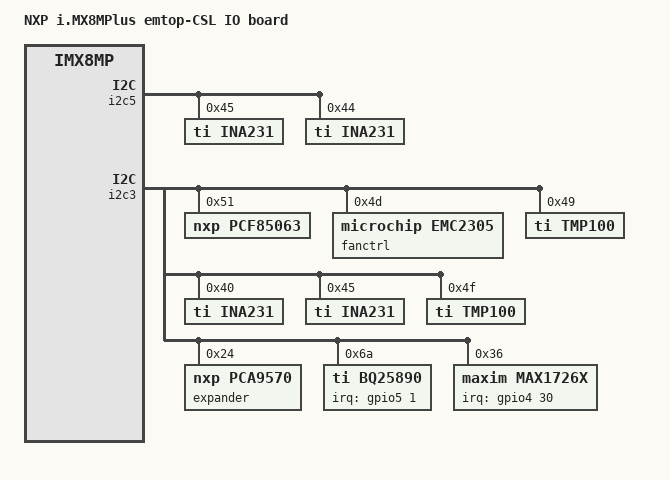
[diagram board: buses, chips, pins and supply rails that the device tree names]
#include "emtop-imx8mp-baseboard-hdmi.dts"

&pinctrl_hog {
	fsl,pins = <
		MX8MP_IOMUXC_ECSPI2_SCLK__GPIO5_IO10		0x19
		MX8MP_IOMUXC_ECSPI2_MOSI__GPIO5_IO11		0x19
		MX8MP_IOMUXC_ECSPI2_MISO__GPIO5_IO12		0x19
		MX8MP_IOMUXC_ECSPI2_SS0__GPIO5_IO13		0x19
	>;
};

/ {
	model = "NXP i.MX8MPlus emtop-CSL IO board";
	compatible = "fsl,imx8mp-evk", "fsl,imx8mp";

	aliases {
		rtc0 = &snvs_rtc;
		rtc1 = &pcf85063;
	};

	gpio-leds {
		act_led: sys {
			label = "led0";
			linux,default-trigger = "mmc0";
			gpios = <&gpio3 16 GPIO_ACTIVE_HIGH>;
		};

                /* pwr_led pin (95) is "reserved" in Emtop SOM-IMX8 */

		sta_led: sta {
			label = "led1";
			linux,default-trigger = "gpio";
			gpios = <&gpio1 6 GPIO_ACTIVE_HIGH>;
		};

		ap_led: ap {
			label = "led2";
			linux,default-trigger = "gpio";
			gpios = <&gpio4 31 GPIO_ACTIVE_HIGH>;
		};
	};
};

&gpio1 { /* gpiochip0 */
	gpio-line-names =
		/* 0*/ "unnamed",
		/* 1*/ "unnamed",
		/* 2*/ "unnamed",
		/* 3*/ "unnamed",
		/* 4*/ "unnamed",
		/* 5*/ "unnamed",
		/* 6*/ "unnamed",
		/* 7*/ "mpcie3_gpio",
		/* 8*/ "unnamed",
		/* 9*/ "unnamed",
		/*10*/ "unnamed",
		/*11*/ "unnamed",
		/*12*/ "unnamed",
		/*13*/ "unnamed",
		/*14*/ "unnamed",
		/*15*/ "unnamed",
		/*16*/ "unnamed",
		/*17*/ "unnamed",
		/*18*/ "unnamed",
		/*19*/ "unnamed",
		/*20*/ "unnamed",
		/*21*/ "unnamed",
		/*22*/ "unnamed",
		/*23*/ "unnamed",
		/*24*/ "unnamed",
		/*25*/ "unnamed",
		/*26*/ "unnamed",
		/*27*/ "unnamed",
		/*28*/ "unnamed",
		/*29*/ "unnamed",
		/*30*/ "unnamed",
		/*31*/ "unnamed";
};

&gpio2 { /* gpiochip1 */
	gpio-line-names =
		/* 0*/ "unnamed",
		/* 1*/ "unnamed",
		/* 2*/ "unnamed",
		/* 3*/ "unnamed",
		/* 4*/ "unnamed",
		/* 5*/ "unnamed",
		/* 6*/ "unnamed",
		/* 7*/ "unnamed",
		/* 8*/ "unnamed",
		/* 9*/ "unnamed",
		/*10*/ "unnamed",
		/*11*/ "unnamed",
		/*12*/ "unnamed",
		/*13*/ "unnamed",
		/*14*/ "unnamed",
		/*15*/ "unnamed",
		/*16*/ "unnamed",
		/*17*/ "unnamed",
		/*18*/ "unnamed",
		/*19*/ "unnamed",
		/*20*/ "nrf52_coex2",
		/*21*/ "unnamed",
		/*22*/ "unnamed",
		/*23*/ "unnamed",
		/*24*/ "unnamed",
		/*25*/ "unnamed",
		/*26*/ "unnamed",
		/*27*/ "unnamed",
		/*28*/ "unnamed",
		/*29*/ "unnamed",
		/*30*/ "unnamed",
		/*31*/ "unnamed";
};

&gpio3 { /* gpiochip2 */
	gpio-line-names =
		/* 0*/ "unnamed",
		/* 1*/ "unnamed",
		/* 2*/ "unnamed",
		/* 3*/ "unnamed",
		/* 4*/ "unnamed",
		/* 5*/ "unnamed",
		/* 6*/ "unnamed",
		/* 7*/ "unnamed",
		/* 8*/ "unnamed",
		/* 9*/ "unnamed",
		/*10*/ "unnamed",
		/*11*/ "unnamed",
		/*12*/ "unnamed",
		/*13*/ "unnamed",
		/*14*/ "unnamed",
		/*15*/ "unnamed",
		/*16*/ "unnamed",
		/*17*/ "unnamed",
		/*18*/ "unnamed",
		/*19*/ "unnamed",
		/*20*/ "unnamed",
		/*21*/ "unnamed",
		/*22*/ "unnamed",
		/*23*/ "unnamed",
		/*24*/ "unnamed",
		/*25*/ "unnamed",
		/*26*/ "unnamed",
		/*27*/ "unnamed",
		/*28*/ "unnamed",
		/*29*/ "unnamed",
		/*30*/ "unnamed",
		/*31*/ "unnamed";
};

&gpio4 { /* gpiochip3 */
	gpio-line-names =
		/* 0*/ "unnamed",
		/* 1*/ "unnamed",
		/* 2*/ "unnamed",
		/* 3*/ "unnamed",
		/* 4*/ "unnamed",
		/* 5*/ "mpcie5_coex2",
		/* 6*/ "unnamed",
		/* 7*/ "unnamed",
		/* 8*/ "unnamed",
		/* 9*/ "unnamed",
		/*10*/ "unnamed",
		/*11*/ "unnamed",
		/*12*/ "unnamed",
		/*13*/ "unnamed",
		/*14*/ "unnamed",
		/*15*/ "unnamed",
		/*16*/ "unnamed",
		/*17*/ "unnamed",
		/*18*/ "unnamed",
		/*19*/ "unnamed",
		/*20*/ "unnamed",
		/*21*/ "unnamed",
		/*22*/ "mux_2",
		/*23*/ "unnamed",
		/*24*/ "unnamed",
		/*25*/ "unnamed",
		/*26*/ "unnamed",
		/*27*/ "mpcie3_coex1",
		/*28*/ "nrf52_coex1",
		/*29*/ "mux_3",
		/*30*/ "nrf53_coex1",
		/*31*/ "aux_ioexp_int";
};

&gpio5 { /* gpiochip4 */
	gpio-line-names =
		/* 0*/ "mpcie3_spi_rst",
		/* 1*/ "nrf53_coex2",
		/* 2*/ "mpcie5_coex1",
		/* 3*/ "unnamed",
		/* 4*/ "unnamed",
		/* 5*/ "unnamed",
		/* 6*/ "unnamed",
		/* 7*/ "unnamed",
		/* 8*/ "unnamed",
		/* 9*/ "unnamed",
		/*10*/ "unnamed",
		/*11*/ "unnamed",
		/*12*/ "unnamed",
		/*13*/ "unnamed",
		/*14*/ "unnamed",
		/*15*/ "unnamed",
		/*16*/ "aux_spi_gpio",
		/*17*/ "aux_spi_rst",
		/*18*/ "unnamed",
		/*19*/ "unnamed",
		/*20*/ "unnamed",
		/*21*/ "unnamed",
		/*22*/ "unnamed",
		/*23*/ "unnamed",
		/*24*/ "unnamed",
		/*25*/ "unnamed",
		/*26*/ "unnamed",
		/*27*/ "unnamed",
		/*28*/ "dcube_rpi_io1",
		/*29*/ "mux_1",
		/*30*/ "unnamed",
		/*31*/ "unnamed";
};

/* ### CSL IO Based Comms Devices ### */
&i2c5 {
	/* Sleeve MiniWing 1.0 */
	/* INA_VCC_FEM */
	ina231@45 {
		compatible = "ti,ina231";
		reg = <0x45>;
		shunt-resistor = <33000>;
	};

	/* INA_VCC_3V3 */
	ina231@44 {
		compatible = "ti,ina231";
		reg = <0x44>;
		shunt-resistor = <100000>;
	};
};

&i2c3 {
	pinctrl-names = "default";
	pinctrl-0 = <&pinctrl_i2c3>;
	status = "okay";

	pcf85063: pcf85063@51 {
		compatible = "nxp,pcf85063";
		reg = <0x51>;
	};

	fanctrl: emc2305@4d {
		compatible = "microchip,emc2305";
		reg = <0x4d>;

		#cooling-cells = <0x02>;

		fan@0 {
			min-rpm = /bits/ 16 <50>;
			max-rpm = /bits/ 16 <5500>;
		};
	};

	tmp100@49 {
		compatible = "ti,tmp100";
		reg = <0x49>;
	};

	/* ina231 is also used for ina209 */
	ina231@40 {
		compatible = "ti,ina231";
		reg = <0x40>;
		shunt-resistor = <33000>;
	};

	/* ina231 is also used for ina209 */
	ina231@45 {
		compatible = "ti,ina231";
		reg = <0x45>;
		shunt-resistor = <33000>;
	};

	/* available in Sleeve wing board */
	tmp100@4f {
		compatible = "ti,tmp100";
		reg = <0x4f>;
	};

	/* Sleeve & wing  board */
	expander: gpio@24 {
		compatible = "nxp,pca9570";
		reg = <0x24>;
		gpio-controller;
		#gpio-cells = <2>;
		gpio-line-names = "poweroff",
				"j701",
				"j702",
				"nrf52_rst";
	};

	bq25890@6a {
		compatible = "ti,bq25890";
		reg = <0x6a>;

		interrupt-parent = <&gpio5>;
		interrupts = <1 IRQ_TYPE_EDGE_FALLING>;

		ti,battery-regulation-voltage = <4208000>;
		ti,charge-current = <2048000>;
		ti,termination-current = <256000>;
		ti,precharge-current = <128000>;
		ti,minimum-sys-voltage = <3500000>;
		ti,boost-voltage = <5000000>;
		ti,boost-max-current = <1000000>;

		ti,use-ilim-pin;
		ti,thermal-regulation-threshold = <120>;
	};

	MAX1726x@36 {
		compatible = "maxim,max1726x";
		status = "okay";
		reg = <0x36>;

		interrupt-parent = <&gpio4>;
		interrupts = <30 IRQ_TYPE_EDGE_FALLING>;

		rsense = <5>; /* 5 miliOhm */
		model-option = <1>; /* 1: EZ Model, 2: Custom INI without model table
					3: Custom INI with custom model table */

		talrt-min = <0>; /* DegreeC */
		talrt-max = <50>; /* DegreeC */
		valrt-min = <3000>; /* mV */
		valrt-max = <4500>; /* mV */
		salrt-min = <1>; /* Percent */
		salrt-max = <99>; /* Percent */
		ialrt-min = <(-5000)>; /* mA */
		ialrt-max = <5000>; /* mA */

		/*** INI parameters ***/
		/* Option 1/2/3 */
		designcap = /bits/ 16 <0xC1C>; /* 3100 mAh */
		ichgterm = /bits/ 16 <0x0320>; /* x * 0.31250mA = 250mA => 800dec => 0x320*/
		vempty = /bits/ 16 <0xA561>; /* 3300 mV */
		vcharge = <4208>; /* 4208mV */

		/* Option 2/3 */
		learncfg = /bits/ 16 <0xC482>;
		rcomp0 = /bits/ 16 <0x0070>;
		tempco = /bits/ 16 <0x223E>;
		qrtable00 = /bits/ 16 <0x1050>;
		qrtable10 = /bits/ 16 <0x2013>;
		qrtable20 = /bits/ 16 <0x0B04>;
		qrtable30 = /bits/ 16 <0x0885>;

		/* Option 2 */
		dpacc = /bits/ 16 <0x0C80>;
		modelcfg = /bits/ 16 <0x8000>;

		/* Option 3 */
		relaxcfg = /bits/ 16 <0x2039>;
		config = /bits/ 16 <0x2314>;
		config2 = /bits/ 16 <0x064F>;
		fullsocthr = /bits/ 16 <0x5F05>;
		tgain = /bits/ 16 <0xEE56>;
		toff = /bits/ 16 <0x1DA4>;
		curve = /bits/ 16 <0x0025>;
		model-data = /bits/ 16 <
			/* OCV Table */
			0x9760 0xa510 0xb100 0xb600 0xb7a0 0xb900 0xba70 0xbc70
			0xbde0 0xbfc0 0xc250 0xc510 0xc990 0xcea0 0xd040 0xd750
			/* X Table */
			0x0060 0x0120 0x0240 0x0d80 0x08b0 0x0590 0x1200 0x3210
			0x0ee0 0x0a40 0x0950 0x08e0 0x0800 0x0780 0x06b0 0x06b0
			/* RCompSeg Table */
			0x0100 0x0100 0x0100 0x0100 0x0100 0x0100 0x0100 0x0100
			0x0100 0x0100 0x0100 0x0100 0x0100 0x0100 0x0100 0x0100
		>;
	};

};

/*
 * pins of spi2 test as gpio */
&ecspi2 {
	status = "disabled";
};

&hdmi {
	status = "disabled";
};

&mipi_dsi {
	status = "disabled";
};

&panel_mipi_70t {
	status = "disabled";
};

&goodix {
	status = "disabled";
};

